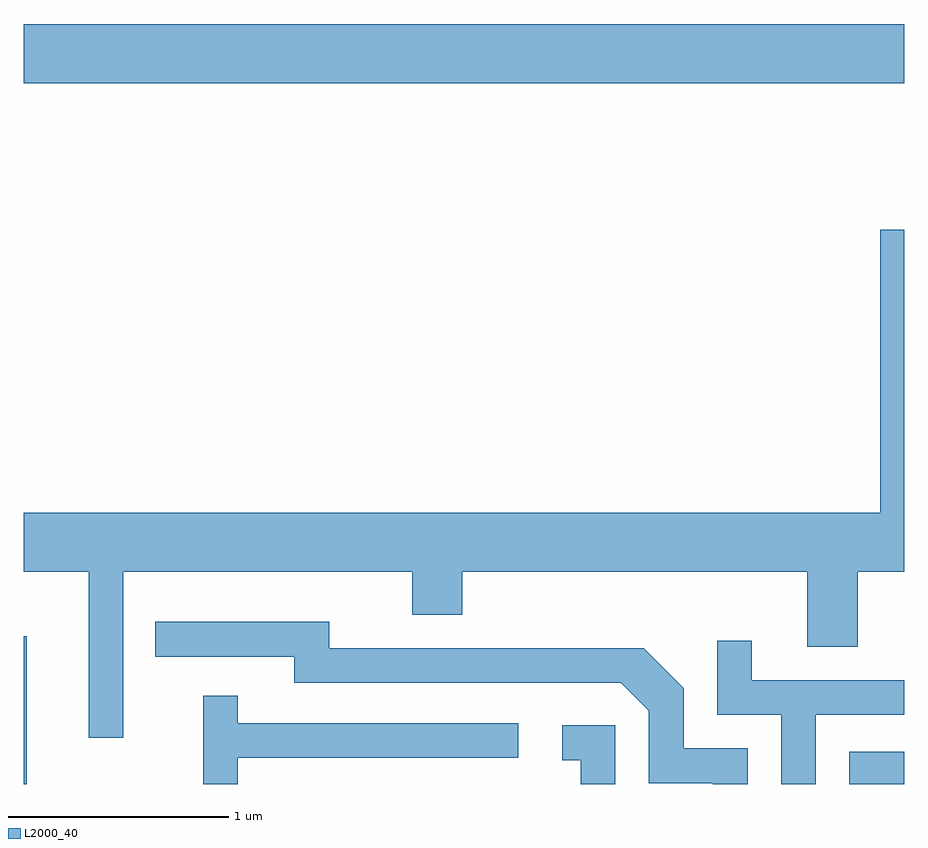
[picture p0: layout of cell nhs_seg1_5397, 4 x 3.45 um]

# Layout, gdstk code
import gdstk
lib = gdstk.Library(unit=1e-6, precision=1e-09)
def R(c, l, rs):  # rectangles x0, y0, x1, y1
    for r in rs: c.add(gdstk.rectangle(r[:2], r[2:], *l))
def P(c, l, *ps):  # polygons
    for p in ps: c.add(gdstk.Polygon(p, *l))
L2000_40 = (2000, 40)

nhs_seg1_5397 = lib.new_cell('nhs_seg1_5397')
R(nhs_seg1_5397, L2000_40, [(347.611,909.712,347.624,910.384), (351.361,909.712,351.611,909.859), (347.611,912.896,351.611,913.164)])
P(nhs_seg1_5397, L2000_40, [(348.064,910.676),(349.376,910.676),(349.376,910.481),(349.604,910.481),(349.604,910.676),(351.171,910.676),(351.171,910.336),(351.399,910.336),(351.399,910.676),(351.611,910.676),(351.611,912.229),(351.501,912.229),(351.501,910.944),(347.611,910.944),(347.611,910.676),(347.906,910.676),(347.906,909.923),(348.064,909.923)],
  [(350.899,909.874),(350.609,909.874),(350.609,910.147),(350.427,910.329),(348.999,910.329),(348.999,910.449),(348.208,910.449),(348.208,910.291),(348.841,910.291),(348.841,910.171),(350.324,910.171),(350.451,910.044),(350.451,909.716),(350.741,909.716),(350.741,909.712),(350.899,909.712)],
  [(351.209,910.026),(351.611,910.026),(351.611,910.184),(350.919,910.184),(350.919,910.363),(350.761,910.363),(350.761,910.026),(351.051,910.026),(351.051,909.712),(351.209,909.712)],
  [(348.584,909.831),(349.858,909.831),(349.858,909.989),(348.584,909.989),(348.584,910.113),(348.426,910.113),(348.426,909.712),(348.584,909.712)],
  [(350.299,909.979),(350.058,909.979),(350.058,909.821),(350.141,909.821),(350.141,909.712),(350.299,909.712)])

lib.write_gds('nhs_seg1_5397.gds')
